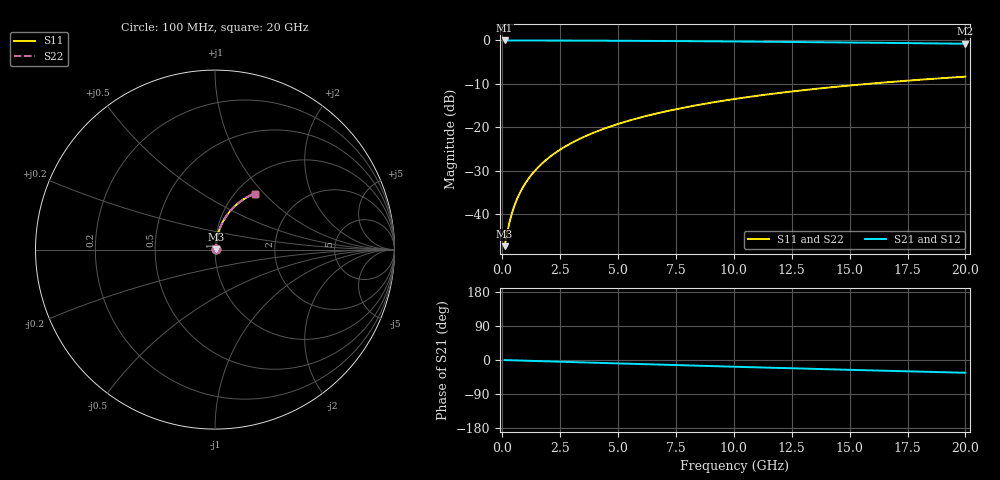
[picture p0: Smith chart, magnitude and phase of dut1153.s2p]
! Touchstone file exported from HFSS 2026.1.0
!  File:  C:/ffzhzh/LocalFiles/Ansys_Project_Files/temp_train_TMRDL_1153_1783162161_51560.aedt
!  Generated:  06:50:38 PM Jul  4, 2026
!  Design:  TMRDL
!  Project:  temp_train_TMRDL_1153_1783162161_51560
! Variables:
!  h_bsmrdl = 2um
!  h_ox = 20um
!  h_rdl = 5um
!  h_sub = 80um
!  h_tmrdl = 3.2um
!  h_tsv = 80um
!  h_via = 3um
!  l_bsmrdl = 300um
!  l_sub = 826.77um
!  l_tmrdl = 426.77um
!  m_sub = 200um
!  pitch = 44.76um
!  r_tsv = 6um
!  s_tmrdl = 10um
!  w_bsmrdl = 18um
!  w_sub = 500um
!  w_tmrdl = 13.52um
!  x_tsv_center1 = 433.53um
!  x_tsv_center2 = 751.53um
!  x_tsv_center3 = 1191.82um
!  x_tsv_center4 = 1509.82um
!  x_tsv_center5 = 1950.11um
!  x_tsv_center6 = 2268.11um
# GHz S MA R 50.000000
! Terminal data exported
! Port[1] = TM_RDL1_1_T1
! Port[2] = TM_RDL1_1_T2
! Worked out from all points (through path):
!   200 points, 100 MHz to 20 GHz, reference 50 ohm
!   highest |S21| = -0.03 dB at 100 MHz (marker M1); lowest = -0.8 dB at 20 GHz (marker M2)
!   group delay of S21, straight-line fit = 4.69 ps
!   lowest |S11| = -47.3 dB at 100 MHz (marker M3), VSWR 1.01, Z = 50.4 + j0.233 ohm
!   |S11| at or under -10 dB: start of sweep to 15.81 GHz
!   |S22| runs from -47.3 to -8.4 dB; largest |S21 - S12| = 2.6e-15
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0.1  0.004302 32.5  0.9964 -0.2  0.9964 -0.2  0.004302 32.5
! Gamma 0 0 0 0
! Port Impedance 50 0 50 0
0.2  0.005913 51.2  0.9963 -0.4  0.9963 -0.4  0.005913 51.2
0.3  0.007866 61.0  0.9962 -0.6  0.9962 -0.6  0.007866 61.0
0.4  0.009938 66.6  0.9961 -0.7  0.9961 -0.7  0.009938 66.6
0.5  0.01205 70.2  0.996 -0.9  0.996 -0.9  0.01205 70.2
0.6  0.01419 72.6  0.9959 -1.1  0.9959 -1.1  0.01419 72.6
0.8  0.01848 75.8  0.9958 -1.5  0.9958 -1.5  0.01848 75.8
1.1  0.02496 78.3  0.9955 -2.0  0.9955 -2.0  0.02496 78.3
1.5  0.03365 79.9  0.9951 -2.7  0.9951 -2.7  0.03365 79.9
1.8  0.04018 80.4  0.9948 -3.3  0.9948 -3.3  0.04018 80.4
2.1  0.04672 80.7  0.9944 -3.8  0.9944 -3.8  0.04672 80.7
2.7  0.05978 80.6  0.9936 -4.9  0.9936 -4.9  0.05978 80.6
3.5  0.07713 80.0  0.9921 -6.3  0.9921 -6.3  0.07713 80.0
4.2  0.09221 79.2  0.9906 -7.6  0.9906 -7.6  0.09221 79.2
5  0.1093 78.1  0.9885 -9.0  0.9885 -9.0  0.1093 78.1
5.9  0.1283 76.7  0.9859 -10.6  0.9859 -10.6  0.1283 76.7
6.8  0.147 75.3  0.9829 -12.2  0.9829 -12.2  0.147 75.3
8.3  0.1775 72.9  0.9772 -14.8  0.9772 -14.8  0.1775 72.9
10.1  0.213 70.0  0.9693 -17.9  0.9693 -17.9  0.213 70.0
13.4  0.2744 64.7  0.9526 -23.4  0.9526 -23.4  0.2744 64.7
16.7  0.3309 59.6  0.9337 -28.6  0.9337 -28.6  0.3309 59.6
20  0.3823 54.7  0.9134 -33.7  0.9134 -33.7  0.3823 54.7
